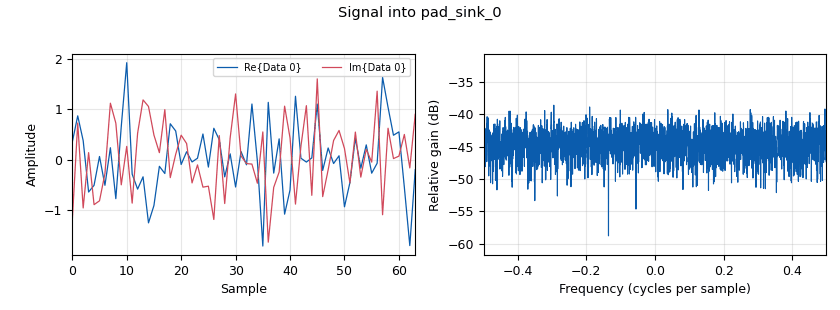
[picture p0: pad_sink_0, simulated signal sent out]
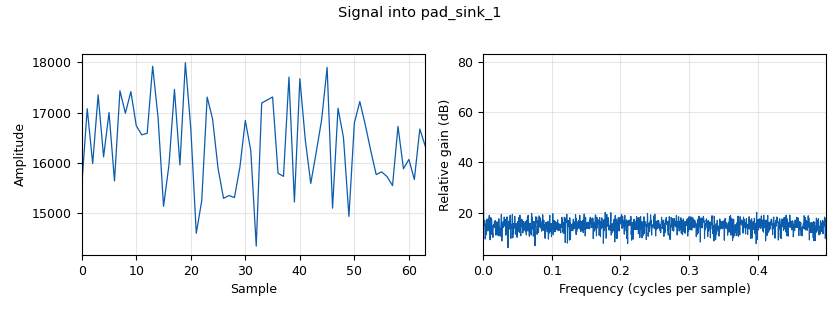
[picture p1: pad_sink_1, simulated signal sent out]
options:
  parameters:
    author: Daniel Estevez
    generate_options: hb_qt_gui
    id: signal_generation
    output_language: python
    title: Signal Generation
  states: {}

blocks:
- name: integrations
  id: variable
  parameters:
    value: int(np.round(samp_rate / nfft * integration_seconds))
  states: {}
- name: narrowband_frequency
  id: variable_qtgui_entry
  parameters:
    label: Narrowband signal frequency (kHz)
    type: real
    value: '-100'
  states: {}
- name: narrowband_snr
  id: variable_qtgui_entry
  parameters:
    label: Narrowband signal CN0 (dB·Hz)
    type: real
    value: '-100'
  states: {}
- name: wideband_bandwidth
  id: variable_qtgui_entry
  parameters:
    label: Wideband signal bandwidth (kHz)
    type: real
    value: '100'
  states: {}
- name: wideband_frequency
  id: variable_qtgui_entry
  parameters:
    label: Wideband signal frequency (kHz)
    type: real
    value: '200'
  states: {}
- name: wideband_snr
  id: variable_qtgui_entry
  parameters:
    label: Wideband signal SNR (dB)
    type: real
    value: '-100'
  states: {}
- name: analog_noise_source_x_0
  id: analog_noise_source_x
  parameters:
    amp: '1'
    noise_type: analog.GR_GAUSSIAN
    seed: '0'
    type: complex
  states: {}
- name: analog_noise_source_x_1
  id: analog_noise_source_x
  parameters:
    amp: 10**(wideband_snr/20.0)/np.sqrt(samp_rate/(wideband_bandwidth*1e3))
    noise_type: analog.GR_GAUSSIAN
    seed: '0'
    type: complex
  states: {}
- name: analog_sig_source_x_0
  id: analog_sig_source_x
  parameters:
    amp: '1'
    freq: wideband_frequency*1e3
    offset: '0'
    phase: '0'
    samp_rate: samp_rate
    type: complex
    waveform: analog.GR_COS_WAVE
  states: {}
- name: analog_sig_source_x_1
  id: analog_sig_source_x
  parameters:
    amp: 10**(narrowband_snr/20.0)/np.sqrt(samp_rate)
    freq: narrowband_frequency * 1e3
    offset: '0'
    phase: '0'
    samp_rate: samp_rate
    type: complex
    waveform: analog.GR_COS_WAVE
  states: {}
- name: blocks_add_xx_0
  id: blocks_add_xx
  parameters:
    num_inputs: '3'
    type: complex
  states: {}
- name: blocks_complex_to_mag_squared_0
  id: blocks_complex_to_mag_squared
  parameters:
    vlen: nfft
  states: {}
- name: blocks_integrate_xx_0
  id: blocks_integrate_xx
  parameters:
    decim: integrations
    type: float
    vlen: nfft
  states: {}
- name: blocks_multiply_const_vxx_0
  id: blocks_multiply_const_vxx
  parameters:
    const: '[1/integrations] * nfft'
    type: float
    vlen: nfft
  states: {}
- name: blocks_multiply_xx_0
  id: blocks_multiply_xx
  parameters:
    type: complex
  states: {}
- name: blocks_stream_to_vector_0
  id: blocks_stream_to_vector
  parameters:
    num_items: nfft
    type: complex
  states: {}
- name: fft_vxx_0
  id: fft_vxx
  parameters:
    fft_size: nfft
    forward: 'True'
    shift: 'True'
    type: complex
    window: '[]'
  states: {}
- name: import_0
  id: import
  parameters:
    imports: import numpy as np
  states: {}
- name: integration_seconds
  id: parameter
  parameters:
    label: Integration (seconds)
    type: eng_float
    value: '5'
  states: {}
- name: nfft
  id: parameter
  parameters:
    label: FFT size
    type: intx
    value: 2**14
  states: {}
- name: pad_sink_0
  id: pad_sink
  parameters:
    label: iq_out
    type: complex
  states: {}
- name: pad_sink_1
  id: pad_sink
  parameters:
    label: psd_out
    type: float
    vlen: nfft
  states: {}
- name: pfb_arb_resampler_xxx_0
  id: pfb_arb_resampler_xxx
  parameters:
    atten: '100'
    nfilts: '32'
    rrate: samp_rate/(wideband_bandwidth*1e3)
    type: ccf
  states: {}
- name: samp_rate
  id: parameter
  parameters:
    label: Sample rate
    type: eng_float
    value: 1e6
  states: {}

connections:
- [analog_noise_source_x_0, '0', blocks_add_xx_0, '0']
- [analog_noise_source_x_1, '0', pfb_arb_resampler_xxx_0, '0']
- [analog_sig_source_x_0, '0', blocks_multiply_xx_0, '1']
- [analog_sig_source_x_1, '0', blocks_add_xx_0, '2']
- [blocks_add_xx_0, '0', blocks_stream_to_vector_0, '0']
- [blocks_add_xx_0, '0', pad_sink_0, '0']
- [blocks_complex_to_mag_squared_0, '0', blocks_integrate_xx_0, '0']
- [blocks_integrate_xx_0, '0', blocks_multiply_const_vxx_0, '0']
- [blocks_multiply_const_vxx_0, '0', pad_sink_1, '0']
- [blocks_multiply_xx_0, '0', blocks_add_xx_0, '1']
- [blocks_stream_to_vector_0, '0', fft_vxx_0, '0']
- [fft_vxx_0, '0', blocks_complex_to_mag_squared_0, '0']
- [pfb_arb_resampler_xxx_0, '0', blocks_multiply_xx_0, '0']

metadata:
  file_format: 1
  grc_version: 3.10.2.0
